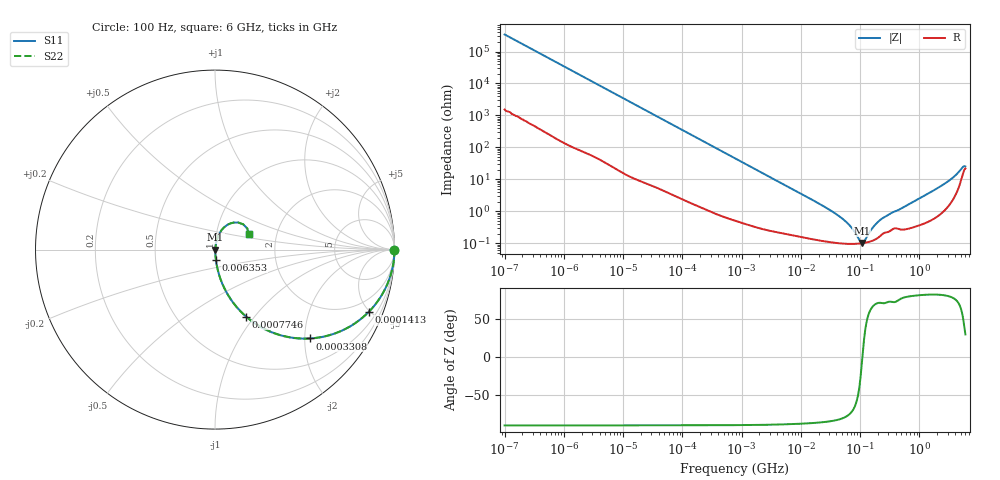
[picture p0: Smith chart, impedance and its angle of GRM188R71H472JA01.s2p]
!Murata Part Number: GRM188R71H472JA01
!These Parameters are Measured in Series Mode Connection
!Data Generated on Mar 30, 2021
!  o--ll--o
!Port1  Port2
!  o------o
!Operation Temp=25[degC], DC Bias Voltage=0[V]
!Freq. Start=100[Hz] Stop=6[GHz] 401[Steps]
# Hz S RI R 50
!Freq.(Hz) S11(Real) S11(Imag) S21(Real) S21(Imag) S12(Real) S12(Imag) S22(Real) S22(Imag)
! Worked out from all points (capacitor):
!   401 points, 100 Hz to 6 GHz, reference 50 ohm
!   read as one part in series: C = 4.66 nF near 109 Hz
!   lowest |Z| = 101 mohm at 106.7 MHz (marker M1)
!   series resonance near 109.5 MHz, so ESL is about 450 pH
!   S11 on the Smith chart (normalised r, x): 100 Hz: open; 141.3 kHz: 1.04, -4.94; 330.8 kHz: 1.02, -2.12; 774.6 kHz: 1.01, -0.91; 6.353 MHz: 1.00, -0.11; 6 GHz: 1.44, +0.25
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100  1 -0.000293  1.4e-06 0.000293  1.4e-06 0.000293  1 -0.000293
2008  0.9999 -0.00584  5.98e-05 0.00584  5.98e-05 0.00584  0.9999 -0.00584
12592  0.9985 -0.0363  0.00149 0.0363  0.00149 0.0363  0.9985 -0.0363
40335  0.986 -0.1145  0.014 0.1145  0.014 0.1145  0.986 -0.1145
141303  0.8573 -0.3462  0.1427 0.3462  0.1427 0.3462  0.8573 -0.3462
330837  0.5282 -0.495  0.4718 0.495  0.4718 0.495  0.5282 -0.495
774597  0.1736 -0.3732  0.8264 0.3732  0.8264 0.3732  0.1736 -0.3732
1734173  0.0426 -0.1944  0.9574 0.1944  0.9574 0.1944  0.0426 -0.1944
6353432  0.00497 -0.0556  0.995 0.0556  0.995 0.0556  0.00497 -0.0556
1.555665e7  0.00185 -0.0227  0.9981 0.0227  0.9981 0.0227  0.00185 -0.0227
3.330331e7  0.00116 -0.00997  0.9988 0.00997  0.9988 0.00997  0.00116 -0.00997
5.449875e7  0.00099 -0.00509  0.999 0.00509  0.999 0.00509  0.00099 -0.00509
7.129496e7  0.000958 -0.00299  0.999 0.00299  0.999 0.00299  0.000958 -0.00299
1.066761e8  0.000993 -0.000174  0.999 0.000174  0.999 0.000174  0.000993 -0.000174
1.166697e8  0.00102 0.000434  0.999 -0.000434  0.999 -0.000434  0.00102 0.000434
1.526266e8  0.00115 0.00231  0.9988 -0.00231  0.9988 -0.00231  0.00115 0.00231
1.909225e8  0.0014 0.004  0.9986 -0.004  0.9986 -0.004  0.0014 0.004
3.124326e8  0.00239 0.00772  0.9976 -0.00772  0.9976 -0.00772  0.00239 0.00772
1.497423e9  0.00631 0.0374  0.9937 -0.0374  0.9937 -0.0374  0.00631 0.0374
3.205649e9  0.0231 0.0872  0.9769 -0.0872  0.9769 -0.0872  0.0231 0.0872
5.245841e9  0.1296 0.1508  0.8704 -0.1508  0.8704 -0.1508  0.1296 0.1508
6e9  0.1876 0.0844  0.8124 -0.0844  0.8124 -0.0844  0.1876 0.0844
